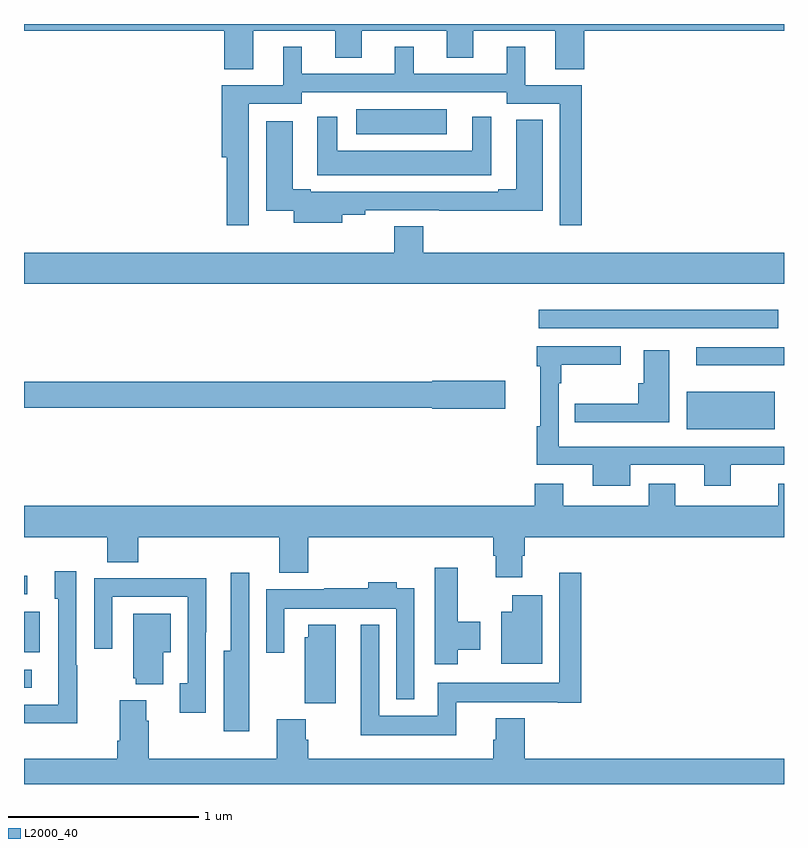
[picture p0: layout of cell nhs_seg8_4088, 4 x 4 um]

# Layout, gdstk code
import gdstk
lib = gdstk.Library(unit=1e-6, precision=1e-09)
def R(c, l, rs):  # rectangles x0, y0, x1, y1
    for r in rs: c.add(gdstk.rectangle(r[:2], r[2:], *l))
def P(c, l, *ps):  # polygons
    for p in ps: c.add(gdstk.Polygon(p, *l))
L2000_40 = (2000, 40)

nhs_seg8_4088 = lib.new_cell('nhs_seg8_4088')
R(nhs_seg8_4088, L2000_40, [(363,1082.406,363.04,1082.502), (363,1082.594,363.082,1082.806), (363,1082.898,363.016,1082.996), (366.488,1083.767,366.952,1083.964), (366.537,1084.103,367,1084.2), (365.709,1084.299,366.97,1084.396), (364.749,1085.321,365.224,1085.452)])
P(nhs_seg8_4088, L2000_40, [(363,1085.864),(364.055,1085.864),(364.055,1085.662),(364.207,1085.662),(364.207,1085.864),(364.637,1085.864),(364.637,1085.722),(364.777,1085.722),(364.777,1085.864),(365.225,1085.864),(365.225,1085.722),(365.365,1085.722),(365.365,1085.864),(365.795,1085.864),(365.795,1085.662),(365.948,1085.662),(365.948,1085.864),(367,1085.864),(367,1085.9),(363,1085.9)],
  [(364.182,1085.481),(364.461,1085.481),(364.461,1085.541),(365.541,1085.541),(365.541,1085.481),(365.82,1085.481),(365.82,1084.842),(365.936,1084.842),(365.936,1085.577),(365.638,1085.577),(365.638,1085.779),(365.54,1085.779),(365.54,1085.637),(365.05,1085.637),(365.05,1085.779),(364.952,1085.779),(364.952,1085.637),(364.462,1085.637),(364.462,1085.779),(364.364,1085.779),(364.364,1085.577),(364.04,1085.577),(364.04,1085.198),(364.066,1085.198),(364.066,1084.842),(364.182,1084.842)],
  [(365.458,1085.413),(365.36,1085.413),(365.36,1085.233),(364.648,1085.233),(364.648,1085.413),(364.544,1085.413),(364.544,1085.105),(365.458,1085.105)],
  [(364.675,1084.895),(364.797,1084.895),(364.797,1084.92),(365.185,1084.92),(365.185,1084.918),(365.731,1084.918),(365.731,1085.395),(365.591,1085.395),(365.591,1085.029),(365.495,1085.029),(365.495,1085.016),(364.51,1085.016),(364.51,1085.029),(364.414,1085.029),(364.414,1085.389),(364.274,1085.389),(364.274,1084.918),(364.421,1084.918),(364.421,1084.853),(364.675,1084.853)],
  [(367,1084.696),(365.102,1084.696),(365.102,1084.835),(364.949,1084.835),(364.949,1084.696),(363,1084.696),(363,1084.532),(367,1084.532)],
  [(366.19,1083.579),(366.581,1083.579),(366.581,1083.47),(366.721,1083.47),(366.721,1083.579),(367,1083.579),(367,1083.675),(365.814,1083.675),(365.814,1084.01),(365.827,1084.01),(365.827,1084.106),(366.142,1084.106),(366.142,1084.203),(365.698,1084.203),(365.698,1084.1),(365.717,1084.1),(365.717,1083.782),(365.698,1083.782),(365.698,1083.579),(365.993,1083.579),(365.993,1083.47),(366.19,1083.47)],
  [(366.397,1084.183),(366.263,1084.183),(366.263,1084.009),(366.233,1084.009),(366.233,1083.902),(365.899,1083.902),(365.899,1083.805),(366.007,1083.805),(366.007,1083.804),(366.397,1083.804)],
  [(365.533,1084.022),(365.148,1084.022),(365.148,1084.016),(363,1084.016),(363,1083.88),(365.148,1083.88),(365.148,1083.875),(365.533,1083.875)],
  [(365.623,1083.102),(365.636,1083.102),(365.636,1083.2),(367,1083.2),(367,1083.481),(366.971,1083.481),(366.971,1083.364),(366.427,1083.364),(366.427,1083.481),(366.287,1083.481),(366.287,1083.364),(365.839,1083.364),(365.839,1083.481),(365.687,1083.481),(365.687,1083.364),(363,1083.364),(363,1083.2),(363.437,1083.2),(363.437,1083.067),(363.602,1083.067),(363.602,1083.2),(364.343,1083.2),(364.343,1083.011),(364.496,1083.011),(364.496,1083.2),(365.471,1083.2),(365.471,1083.102),(365.483,1083.102),(365.483,1082.988),(365.623,1082.988)],
  [(365.284,1082.606),(365.401,1082.606),(365.401,1082.754),(365.284,1082.754),(365.284,1083.037),(365.162,1083.037),(365.162,1082.529),(365.284,1082.529)],
  [(363.279,1082.525),(363.276,1082.525),(363.276,1083.019),(363.161,1083.019),(363.161,1082.874),(363.18,1082.874),(363.18,1082.552),(363.179,1082.552),(363.179,1082.316),(363,1082.316),(363,1082.219),(363.279,1082.219)],
  [(365.276,1082.33),(365.81,1082.33),(365.81,1082.328),(365.933,1082.328),(365.933,1083.013),(365.817,1083.013),(365.817,1082.434),(365.178,1082.434),(365.178,1082.26),(364.869,1082.26),(364.869,1082.737),(364.772,1082.737),(364.772,1082.156),(365.276,1082.156)],
  [(364.186,1082.498),(364.185,1082.498),(364.185,1083.013),(364.088,1083.013),(364.088,1082.602),(364.052,1082.602),(364.052,1082.178),(364.186,1082.178)],
  [(363.957,1082.698),(363.958,1082.698),(363.958,1082.984),(363.685,1082.984),(363.685,1082.982),(363.369,1082.982),(363.369,1082.613),(363.465,1082.613),(363.465,1082.886),(363.861,1082.886),(363.861,1082.43),(363.821,1082.43),(363.821,1082.274),(363.957,1082.274)],
  [(365.055,1082.929),(364.963,1082.929),(364.963,1082.962),(364.811,1082.962),(364.811,1082.929),(364.579,1082.929),(364.579,1082.926),(364.275,1082.926),(364.275,1082.592),(364.371,1082.592),(364.371,1082.822),(364.959,1082.822),(364.959,1082.345),(365.055,1082.345)],
  [(365.728,1082.893),(365.57,1082.893),(365.57,1082.806),(365.513,1082.806),(365.513,1082.534),(365.728,1082.534)],
  [(363.733,1082.594),(363.772,1082.594),(363.772,1082.797),(363.575,1082.797),(363.575,1082.457),(363.587,1082.457),(363.587,1082.426),(363.733,1082.426)],
  [(364.642,1082.737),(364.496,1082.737),(364.496,1082.673),(364.478,1082.673),(364.478,1082.326),(364.642,1082.326)],
  [(367,1082.032),(365.636,1082.032),(365.636,1082.245),(365.483,1082.245),(365.483,1082.133),(365.471,1082.133),(365.471,1082.032),(364.496,1082.032),(364.496,1082.132),(364.483,1082.132),(364.483,1082.241),(364.331,1082.241),(364.331,1082.032),(363.656,1082.032),(363.656,1082.234),(363.643,1082.234),(363.643,1082.341),(363.503,1082.341),(363.503,1082.128),(363.491,1082.128),(363.491,1082.032),(363,1082.032),(363,1081.9),(367,1081.9)])

lib.write_gds('nhs_seg8_4088.gds')
